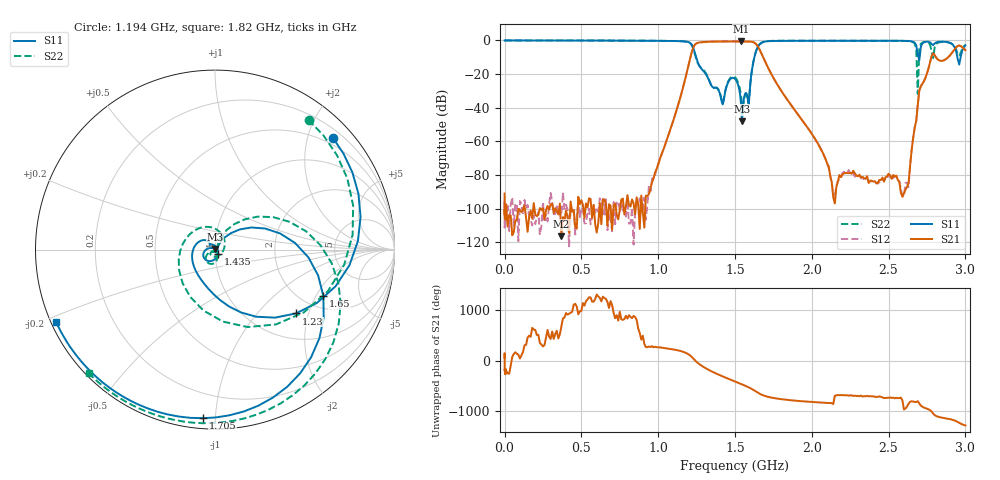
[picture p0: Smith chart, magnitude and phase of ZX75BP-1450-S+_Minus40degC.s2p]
! Mini-Circuits
! S2P DATA File Format
! Type: BAND PASS FILTER
! Model: ZX75BP-1450-S+
! All S Parameters are in dB deg format
! TEST CONDITIONS: INPUT POWER = 0 dBm @ Temperature = -40deg C
# MHz S dB R 50
!Frequency  S11 dB  S11 DEG  S21 dB  S21 DEG  S12 dB  S12 DEG  S22 dB  S22 DEG
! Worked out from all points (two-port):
!   393 points, 300 kHz to 3 GHz, reference 50 ohm
!   highest |S21| = -0.55 dB at 1.54 GHz (marker M1); lowest = -116.3 dB at 370 MHz (marker M2)
!   |S21| within 3 dB of the highest: 1.232 GHz to 1.649 GHz (416.6 MHz wide, 28.9 % of centre); 2.946 GHz to 2.973 GHz (26.69 MHz wide, 0.902 % of centre)
!   lowest |S11| = -48.2 dB at 1.545 GHz (marker M3), VSWR 1.01, Z = 50 + j0.388 ohm
!   |S11| at or under -10 dB: 1.247 GHz to 1.626 GHz (379 MHz wide, 26.4 % of centre); 2.694536 GHz to 2.702269 GHz (7.733 MHz wide, 0.287 % of centre); 2.948 GHz to 2.969 GHz (21 MHz wide, 0.71 % of centre)
!   |S22| runs from -39.6 to 0.0 dB; largest |S21 - S12| = 0.003
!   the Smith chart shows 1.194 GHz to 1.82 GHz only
!   S11 on the Smith chart (normalised r, x): 1.194 GHz: 0.36, +2.46; 1.23 GHz: 1.57, -1.66; 1.435 GHz: 1.03, -0.05; 1.65 GHz: 2.54, -2.31; 1.705 GHz: 0.06, -0.93; 1.82 GHz: 0.01, -0.22
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0.3  -0.00 -0.1  -91.01 61.2  -99.83 30.8  0.00 -0.0
370  -0.01 -57.3  -116.32 -41.1  -103.89 56.0  0.00 -52.7
510  -0.04 -81.3  -97.74 63.2  -100.64 -71.0  -0.01 -74.3
1010  -0.22 168.7  -70.79 -96.7  -70.49 -98.7  -0.17 -177.7
1194  -0.86 43.6  -16.12 131.3  -16.15 131.4  -1.00 54.2
1230  -4.82 -38.3  -3.95 36.5  -3.94 36.6  -5.39 -50.9
1274  -15.94 -132.2  -1.11 -84.2  -1.12 -84.2  -15.65 149.1
1330  -23.41 131.9  -0.75 173.2  -0.76 173.2  -23.23 38.2
1435  -31.18 -56.4  -0.58 25.7  -0.58 25.8  -30.71 -70.5
1505  -23.35 -161.6  -0.57 -61.3  -0.57 -61.4  -22.41 -131.7
1540  -38.43 142.6  -0.55 -105.3  -0.56 -105.3  -33.31 -149.4
1545  -48.17 96.2  -0.55 -111.7  -0.56 -111.7  -37.08 -135.3
1650  -3.65 -23.2  -3.73 80.0  -3.73 80.2  -3.69 -6.6
1705  -0.52 -94.1  -14.24 7.8  -14.21 7.9  -0.46 -75.9
1820  -0.23 -155.6  -32.50 -54.0  -32.48 -54.2  -0.13 -135.7
2010  -0.19 152.0  -56.86 -105.5  -56.83 -105.8  -0.13 173.7
2510  -0.12 60.8  -80.21 -14.2  -81.05 -18.3  -0.19 86.1
2630  -0.29 31.6  -84.79 -139.6  -87.18 -138.1  -0.40 58.3
2680  -2.85 -12.9  -47.82 -103.6  -47.80 -103.4  -5.00 5.4
2690  -8.47 -49.0  -38.25 -87.0  -38.28 -87.0  -31.77 -156.4
2710  -3.73 86.6  -27.11 -174.3  -27.15 -174.3  -2.05 91.1
3000  -2.88 35.0  -5.82 150.6  -5.86 150.7  -2.64 61.5
